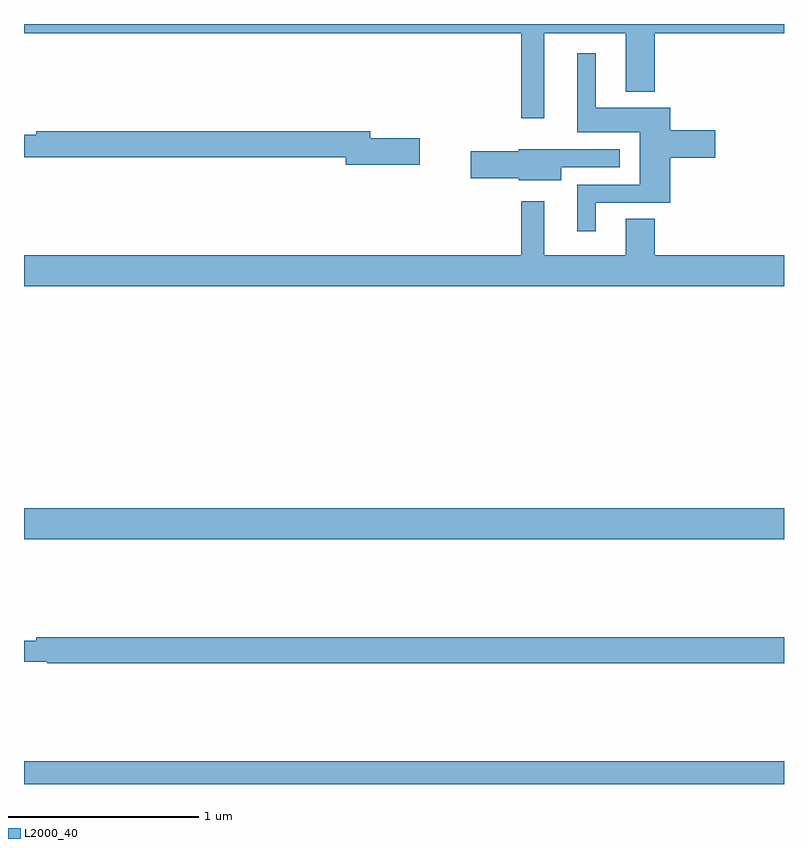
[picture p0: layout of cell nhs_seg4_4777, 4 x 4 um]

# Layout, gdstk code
import gdstk
lib = gdstk.Library(unit=1e-6, precision=1e-09)
def R(c, l, rs):  # rectangles x0, y0, x1, y1
    for r in rs: c.add(gdstk.rectangle(r[:2], r[2:], *l))
def P(c, l, *ps):  # polygons
    for p in ps: c.add(gdstk.Polygon(p, *l))
L2000_40 = (2000, 40)

nhs_seg4_4777 = lib.new_cell('nhs_seg4_4777')
R(nhs_seg4_4777, L2000_40, [(369,760.9,373,761.02), (369,762.188,373,762.352)])
P(nhs_seg4_4777, L2000_40, [(371.737,764.852),(372.167,764.852),(372.167,764.543),(372.32,764.543),(372.32,764.852),(373,764.852),(373,764.9),(369,764.9),(369,764.852),(371.616,764.852),(371.616,764.403),(371.737,764.403)],
  [(372.01,763.959),(372.401,763.959),(372.401,764.195),(372.637,764.195),(372.637,764.342),(372.401,764.342),(372.401,764.458),(372.01,764.458),(372.01,764.746),(371.912,764.746),(371.912,764.33),(372.242,764.33),(372.242,764.055),(371.912,764.055),(371.912,763.809),(372.01,763.809)],
  [(371.083,764.3),(370.822,764.3),(370.822,764.336),(369.064,764.336),(369.064,764.317),(369,764.317),(369,764.2),(370.694,764.2),(370.694,764.158),(371.083,764.158)],
  [(371.827,764.145),(372.136,764.145),(372.136,764.241),(371.823,764.241),(371.823,764.242),(371.604,764.242),(371.604,764.231),(371.352,764.231),(371.352,764.089),(371.604,764.089),(371.604,764.078),(371.827,764.078)],
  [(373,763.684),(372.32,763.684),(372.32,763.874),(372.167,763.874),(372.167,763.684),(371.737,763.684),(371.737,763.966),(371.616,763.966),(371.616,763.684),(369,763.684),(369,763.52),(373,763.52)],
  [(373,761.672),(369.064,761.672),(369.064,761.653),(369,761.653),(369,761.544),(369.122,761.544),(369.122,761.536),(373,761.536)])

lib.write_gds('nhs_seg4_4777.gds')
